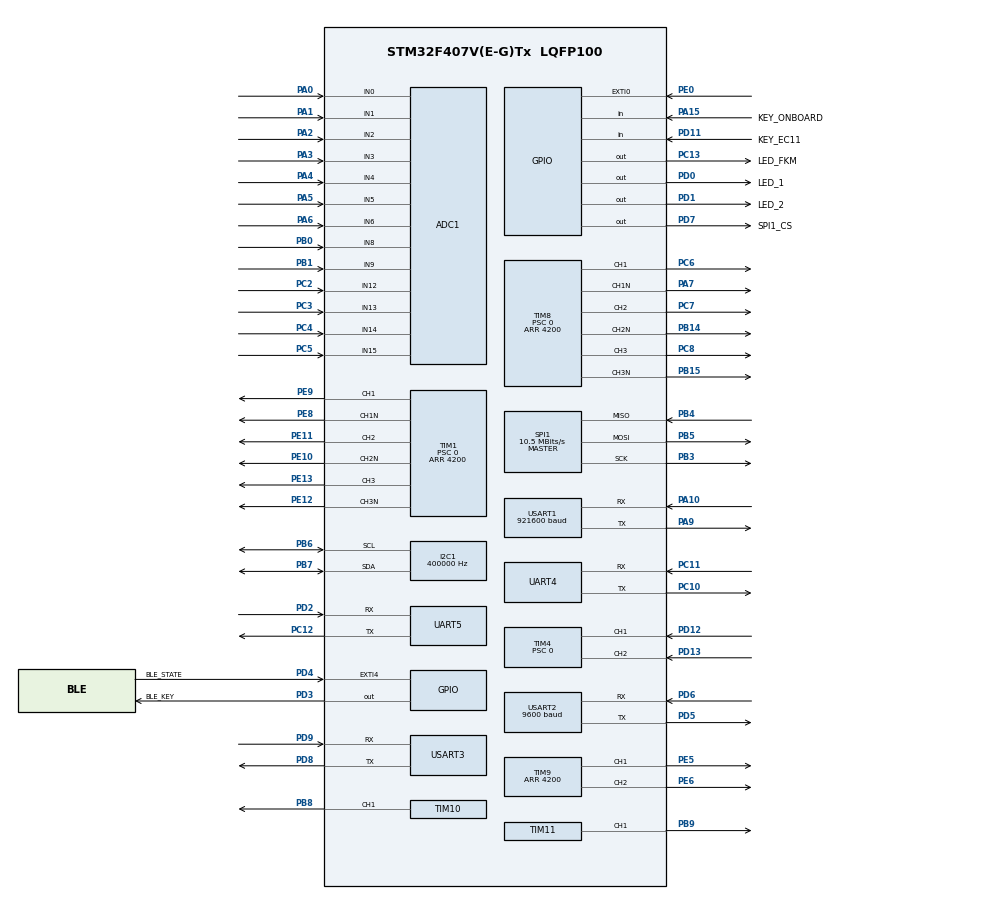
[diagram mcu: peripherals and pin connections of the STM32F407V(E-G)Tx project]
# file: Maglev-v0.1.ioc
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ADC1.Channel-1\#ChannelRegularConversion=ADC_CHANNEL_0
ADC1.Channel-10\#ChannelRegularConversion=ADC_CHANNEL_TEMPSENSOR
ADC1.Channel-11\#ChannelRegularConversion=ADC_CHANNEL_VREFINT
ADC1.Channel-12\#ChannelRegularConversion=ADC_CHANNEL_9
ADC1.Channel-13\#ChannelRegularConversion=ADC_CHANNEL_12
ADC1.Channel-14\#ChannelRegularConversion=ADC_CHANNEL_8
ADC1.Channel-15\#ChannelRegularConversion=ADC_CHANNEL_13
ADC1.Channel-2\#ChannelRegularConversion=ADC_CHANNEL_1
ADC1.Channel-3\#ChannelRegularConversion=ADC_CHANNEL_2
ADC1.Channel-4\#ChannelRegularConversion=ADC_CHANNEL_3
ADC1.Channel-5\#ChannelRegularConversion=ADC_CHANNEL_4
ADC1.Channel-6\#ChannelRegularConversion=ADC_CHANNEL_5
ADC1.Channel-7\#ChannelRegularConversion=ADC_CHANNEL_6
ADC1.Channel-8\#ChannelRegularConversion=ADC_CHANNEL_14
ADC1.Channel-9\#ChannelRegularConversion=ADC_CHANNEL_15
ADC1.ClockPrescaler=ADC_CLOCK_SYNC_PCLK_DIV6
ADC1.ContinuousConvMode=ENABLE
ADC1.DMAContinuousRequests=ENABLE
ADC1.EOCSelection=ADC_EOC_SEQ_CONV
ADC1.InjNumberOfConversion=0
ADC1.NbrOfConversion=15
ADC1.NbrOfConversionFlag=1
ADC1.Rank-1\#ChannelRegularConversion=1
ADC1.Rank-10\#ChannelRegularConversion=10
ADC1.Rank-11\#ChannelRegularConversion=11
ADC1.Rank-12\#ChannelRegularConversion=12
ADC1.Rank-13\#ChannelRegularConversion=13
ADC1.Rank-14\#ChannelRegularConversion=14
ADC1.Rank-15\#ChannelRegularConversion=15
ADC1.Rank-2\#ChannelRegularConversion=2
ADC1.Rank-3\#ChannelRegularConversion=3
ADC1.Rank-4\#ChannelRegularConversion=4
ADC1.Rank-5\#ChannelRegularConversion=5
ADC1.Rank-6\#ChannelRegularConversion=6
ADC1.Rank-7\#ChannelRegularConversion=7
ADC1.Rank-8\#ChannelRegularConversion=8
ADC1.Rank-9\#ChannelRegularConversion=9
ADC1.SamplingTime-1\#ChannelRegularConversion=ADC_SAMPLETIME_15CYCLES
ADC1.SamplingTime-10\#ChannelRegularConversion=ADC_SAMPLETIME_480CYCLES
ADC1.SamplingTime-11\#ChannelRegularConversion=ADC_SAMPLETIME_480CYCLES
ADC1.SamplingTime-12\#ChannelRegularConversion=ADC_SAMPLETIME_15CYCLES
ADC1.SamplingTime-13\#ChannelRegularConversion=ADC_SAMPLETIME_15CYCLES
ADC1.SamplingTime-14\#ChannelRegularConversion=ADC_SAMPLETIME_15CYCLES
ADC1.SamplingTime-15\#ChannelRegularConversion=ADC_SAMPLETIME_15CYCLES
ADC1.SamplingTime-2\#ChannelRegularConversion=ADC_SAMPLETIME_15CYCLES
ADC1.SamplingTime-3\#ChannelRegularConversion=ADC_SAMPLETIME_15CYCLES
ADC1.SamplingTime-4\#ChannelRegularConversion=ADC_SAMPLETIME_15CYCLES
ADC1.SamplingTime-5\#ChannelRegularConversion=ADC_SAMPLETIME_28CYCLES
ADC1.SamplingTime-6\#ChannelRegularConversion=ADC_SAMPLETIME_28CYCLES
ADC1.SamplingTime-7\#ChannelRegularConversion=ADC_SAMPLETIME_28CYCLES
ADC1.SamplingTime-8\#ChannelRegularConversion=ADC_SAMPLETIME_480CYCLES
ADC1.SamplingTime-9\#ChannelRegularConversion=ADC_SAMPLETIME_480CYCLES
ADC1.master=1
Dma.ADC1.0.Direction=DMA_PERIPH_TO_MEMORY
Dma.ADC1.0.FIFOMode=DMA_FIFOMODE_DISABLE
Dma.ADC1.0.Instance=DMA2_Stream0
Dma.ADC1.0.MemDataAlignment=DMA_MDATAALIGN_HALFWORD
Dma.ADC1.0.MemInc=DMA_MINC_ENABLE
Dma.ADC1.0.Mode=DMA_CIRCULAR
Dma.ADC1.0.PeriphDataAlignment=DMA_PDATAALIGN_HALFWORD
Dma.ADC1.0.PeriphInc=DMA_PINC_DISABLE
Dma.ADC1.0.Priority=DMA_PRIORITY_LOW
Dma.I2C1_TX.7.Direction=DMA_MEMORY_TO_PERIPH
Dma.I2C1_TX.7.FIFOMode=DMA_FIFOMODE_DISABLE
Dma.I2C1_TX.7.Instance=DMA1_Stream7
Dma.I2C1_TX.7.MemDataAlignment=DMA_MDATAALIGN_BYTE
Dma.I2C1_TX.7.MemInc=DMA_MINC_ENABLE
Dma.I2C1_TX.7.Mode=DMA_NORMAL
Dma.I2C1_TX.7.PeriphDataAlignment=DMA_PDATAALIGN_BYTE
Dma.I2C1_TX.7.PeriphInc=DMA_PINC_DISABLE
Dma.I2C1_TX.7.Priority=DMA_PRIORITY_LOW
Dma.Request0=ADC1
Dma.Request1=USART1_RX
Dma.Request2=USART1_TX
Dma.Request3=USART3_RX
Dma.Request4=USART3_TX
Dma.Request5=USART2_RX
Dma.Request6=USART2_TX
Dma.Request7=I2C1_TX
Dma.USART1_RX.1.Direction=DMA_PERIPH_TO_MEMORY
Dma.USART1_RX.1.FIFOMode=DMA_FIFOMODE_DISABLE
Dma.USART1_RX.1.Instance=DMA2_Stream2
Dma.USART1_RX.1.MemDataAlignment=DMA_MDATAALIGN_BYTE
Dma.USART1_RX.1.MemInc=DMA_MINC_ENABLE
Dma.USART1_RX.1.Mode=DMA_CIRCULAR
Dma.USART1_RX.1.PeriphDataAlignment=DMA_PDATAALIGN_BYTE
Dma.USART1_RX.1.PeriphInc=DMA_PINC_DISABLE
Dma.USART1_RX.1.Priority=DMA_PRIORITY_LOW
Dma.USART1_TX.2.Direction=DMA_MEMORY_TO_PERIPH
Dma.USART1_TX.2.FIFOMode=DMA_FIFOMODE_DISABLE
Dma.USART1_TX.2.Instance=DMA2_Stream7
Dma.USART1_TX.2.MemDataAlignment=DMA_MDATAALIGN_BYTE
Dma.USART1_TX.2.MemInc=DMA_MINC_ENABLE
Dma.USART1_TX.2.Mode=DMA_NORMAL
Dma.USART1_TX.2.PeriphDataAlignment=DMA_PDATAALIGN_BYTE
Dma.USART1_TX.2.PeriphInc=DMA_PINC_DISABLE
Dma.USART1_TX.2.Priority=DMA_PRIORITY_LOW
Dma.USART2_RX.5.Direction=DMA_PERIPH_TO_MEMORY
Dma.USART2_RX.5.FIFOMode=DMA_FIFOMODE_DISABLE
Dma.USART2_RX.5.Instance=DMA1_Stream5
Dma.USART2_RX.5.MemDataAlignment=DMA_MDATAALIGN_BYTE
Dma.USART2_RX.5.MemInc=DMA_MINC_ENABLE
Dma.USART2_RX.5.Mode=DMA_CIRCULAR
Dma.USART2_RX.5.PeriphDataAlignment=DMA_PDATAALIGN_BYTE
Dma.USART2_RX.5.PeriphInc=DMA_PINC_DISABLE
Dma.USART2_RX.5.Priority=DMA_PRIORITY_LOW
Dma.USART2_TX.6.Direction=DMA_MEMORY_TO_PERIPH
Dma.USART2_TX.6.FIFOMode=DMA_FIFOMODE_DISABLE
Dma.USART2_TX.6.Instance=DMA1_Stream6
Dma.USART2_TX.6.MemDataAlignment=DMA_MDATAALIGN_BYTE
Dma.USART2_TX.6.MemInc=DMA_MINC_ENABLE
Dma.USART2_TX.6.Mode=DMA_NORMAL
Dma.USART2_TX.6.PeriphDataAlignment=DMA_PDATAALIGN_BYTE
Dma.USART2_TX.6.PeriphInc=DMA_PINC_DISABLE
Dma.USART2_TX.6.Priority=DMA_PRIORITY_LOW
Dma.USART3_RX.3.Direction=DMA_PERIPH_TO_MEMORY
Dma.USART3_RX.3.FIFOMode=DMA_FIFOMODE_DISABLE
Dma.USART3_RX.3.Instance=DMA1_Stream1
Dma.USART3_RX.3.MemDataAlignment=DMA_MDATAALIGN_BYTE
Dma.USART3_RX.3.MemInc=DMA_MINC_ENABLE
Dma.USART3_RX.3.Mode=DMA_CIRCULAR
Dma.USART3_RX.3.PeriphDataAlignment=DMA_PDATAALIGN_BYTE
Dma.USART3_RX.3.PeriphInc=DMA_PINC_DISABLE
Dma.USART3_RX.3.Priority=DMA_PRIORITY_LOW
Dma.USART3_TX.4.Direction=DMA_MEMORY_TO_PERIPH
Dma.USART3_TX.4.FIFOMode=DMA_FIFOMODE_DISABLE
Dma.USART3_TX.4.Instance=DMA1_Stream3
Dma.USART3_TX.4.MemDataAlignment=DMA_MDATAALIGN_BYTE
Dma.USART3_TX.4.MemInc=DMA_MINC_ENABLE
Dma.USART3_TX.4.Mode=DMA_NORMAL
Dma.USART3_TX.4.PeriphDataAlignment=DMA_PDATAALIGN_BYTE
Dma.USART3_TX.4.PeriphInc=DMA_PINC_DISABLE
Dma.USART3_TX.4.Priority=DMA_PRIORITY_LOW
I2C1.ClockSpeed=400000
I2C1.I2C_Mode=I2C_Fast
Mcu.Family=STM32F4
Mcu.Name=STM32F407V(E-G)Tx
Mcu.Package=LQFP100
NVIC.DMA1_Stream7_IRQn=true\:0\:0\:true\:false\:true\:true\:true\:true
NVIC.EXTI4_IRQn=true\:1\:0\:true\:false\:true\:true\:true\:true
NVIC.PriorityGroup=NVIC_PRIORITYGROUP_4
NVIC.TIM3_IRQn=true\:0\:0\:true\:false\:true\:true\:true\:true
NVIC.TIM4_IRQn=true\:1\:0\:true\:false\:true\:true\:true\:true
NVIC.USART1_IRQn=true\:0\:0\:true\:false\:true\:true\:true\:true
NVIC.USART2_IRQn=true\:1\:0\:true\:false\:true\:true\:true\:true
NVIC.USART3_IRQn=true\:0\:0\:false\:false\:true\:true\:true\:true
PA0-WKUP.Signal=ADCx_IN0
PA1.Signal=ADCx_IN1
PA10.Mode=Asynchronous
PA10.Signal=USART1_RX
PA13.Mode=Serial_Wire
PA13.Signal=SYS_JTMS-SWDIO
PA14.Mode=Serial_Wire
PA14.Signal=SYS_JTCK-SWCLK
PA15.GPIO_Label=KEY_ONBOARD
PA15.GPIO_PuPd=GPIO_NOPULL
PA15.Signal=GPIO_Input
PA2.Signal=ADCx_IN2
PA3.Signal=ADCx_IN3
PA4.Signal=ADCx_IN4
PA5.Signal=ADCx_IN5
PA6.Signal=ADCx_IN6
PA7.Mode=PWM Generation1 CH1 CH1N
PA7.Signal=TIM8_CH1N
PA9.Mode=Asynchronous
PA9.Signal=USART1_TX
PB0.Signal=ADCx_IN8
PB1.Signal=ADCx_IN9
PB14.GPIO_PuPd=GPIO_NOPULL
PB14.GPIO_Speed=GPIO_SPEED_FREQ_VERY_HIGH
PB14.Mode=PWM Generation2 CH2 CH2N
PB14.Signal=TIM8_CH2N
PB15.GPIO_PuPd=GPIO_NOPULL
PB15.GPIO_Speed=GPIO_SPEED_FREQ_VERY_HIGH
PB15.Mode=PWM Generation3 CH3 CH3N
PB15.Signal=TIM8_CH3N
PB3.GPIO_PuPd=GPIO_PULLUP
PB3.Mode=Full_Duplex_Master
PB3.Signal=SPI1_SCK
PB4.Mode=Full_Duplex_Master
PB4.Signal=SPI1_MISO
PB5.GPIO_PuPd=GPIO_PULLUP
PB5.Mode=Full_Duplex_Master
PB5.Signal=SPI1_MOSI
PB6.GPIO_Pu=GPIO_NOPULL
PB6.Mode=I2C
PB6.Signal=I2C1_SCL
PB7.GPIO_Pu=GPIO_NOPULL
PB7.Mode=I2C
PB7.Signal=I2C1_SDA
PB8.GPIO_Speed=GPIO_SPEED_FREQ_VERY_HIGH
PB8.Signal=S_TIM10_CH1
PB9.GPIO_Speed=GPIO_SPEED_FREQ_VERY_HIGH
PB9.Signal=S_TIM11_CH1
PC10.Mode=Asynchronous
PC10.Signal=UART4_TX
PC11.Mode=Asynchronous
PC11.Signal=UART4_RX
PC12.Mode=Asynchronous
PC12.Signal=UART5_TX
PC13-ANTI_TAMP.GPIO_Label=LED_FKM
PC13-ANTI_TAMP.PinState=GPIO_PIN_SET
PC13-ANTI_TAMP.Signal=GPIO_Output
PC2.Signal=ADCx_IN12
PC3.Signal=ADCx_IN13
PC4.Signal=ADCx_IN14
PC5.Signal=ADCx_IN15
PC6.Signal=S_TIM8_CH1
PC7.Signal=S_TIM8_CH2
PC8.Signal=S_TIM8_CH3
PD0.GPIO_Label=LED_1
PD0.GPIO_Speed=GPIO_SPEED_FREQ_VERY_HIGH
PD0.Signal=GPIO_Output
PD1.GPIO_Label=LED_2
PD1.GPIO_Speed=GPIO_SPEED_FREQ_VERY_HIGH
PD1.Signal=GPIO_Output
PD11.GPIO_Label=KEY_EC11
PD11.GPIO_PuPd=GPIO_PULLUP
PD11.Signal=GPIO_Input
PD12.GPIO_PuPd=GPIO_PULLUP
PD12.GPIO_Speed=GPIO_SPEED_FREQ_VERY_HIGH
PD12.Signal=S_TIM4_CH1
PD13.GPIO_PuPd=GPIO_PULLUP
PD13.GPIO_Speed=GPIO_SPEED_FREQ_VERY_HIGH
PD13.Signal=S_TIM4_CH2
PD2.Mode=Asynchronous
PD2.Signal=UART5_RX
PD3.GPIO_Label=BLE_KEY
PD3.GPIO_Speed=GPIO_SPEED_FREQ_VERY_HIGH
PD3.Signal=GPIO_Output
PD4.GPIO_Label=BLE_STATE
PD4.GPIO_ModeDefaultEXTI=GPIO_MODE_IT_RISING_FALLING
PD4.GPIO_PuPd=GPIO_PULLUP
PD4.Signal=GPXTI4
PD5.Mode=Asynchronous
PD5.Signal=USART2_TX
PD6.Mode=Asynchronous
PD6.Signal=USART2_RX
PD7.GPIO_Label=SPI1_CS
PD7.GPIO_PuPd=GPIO_PULLUP
PD7.GPIO_Speed=GPIO_SPEED_FREQ_VERY_HIGH
PD7.PinState=GPIO_PIN_SET
PD7.Signal=GPIO_Output
PD8.Mode=Asynchronous
PD8.Signal=USART3_TX
PD9.Mode=Asynchronous
PD9.Signal=USART3_RX
PE0.Signal=GPXTI0
PE10.Mode=PWM Generation2 CH2 CH2N
PE10.Signal=TIM1_CH2N
PE11.Signal=S_TIM1_CH2
PE12.Mode=PWM Generation3 CH3 CH3N
PE12.Signal=TIM1_CH3N
PE13.Signal=S_TIM1_CH3
PE5.Signal=S_TIM9_CH1
PE6.Signal=S_TIM9_CH2
PE8.Mode=PWM Generation1 CH1 CH1N
PE8.Signal=TIM1_CH1N
PE9.Signal=S_TIM1_CH1
PH0-OSC_IN.Mode=HSE-External-Oscillator
PH0-OSC_IN.Signal=RCC_OSC_IN
PH1-OSC_OUT.Mode=HSE-External-Oscillator
PH1-OSC_OUT.Signal=RCC_OSC_OUT
ProjectManager.HeapSize=0x200
ProjectManager.StackSize=0x400
ProjectManager.TargetToolchain=Makefile
RCC.48MHZClocksFreq_Value=84000000
RCC.AHBFreq_Value=168000000
RCC.APB1CLKDivider=RCC_HCLK_DIV4
RCC.APB1Freq_Value=42000000
RCC.APB1TimFreq_Value=84000000
RCC.APB2CLKDivider=RCC_HCLK_DIV2
RCC.APB2Freq_Value=84000000
RCC.APB2TimFreq_Value=168000000
RCC.CortexFreq_Value=168000000
RCC.DATA_CACHE_ENABLE=1
RCC.HCLKFreq_Value=168000000
RCC.HSE_VALUE=8000000
RCC.HSI_VALUE=16000000
RCC.LSE_VALUE=32768
RCC.PLLM=4
RCC.PLLN=168
RCC.PLLSourceVirtual=RCC_PLLSOURCE_HSE
RCC.SYSCLKFreq_VALUE=168000000
RCC.SYSCLKSource=RCC_SYSCLKSOURCE_PLLCLK
RCC.VCOOutputFreq_Value=336000000
SH.ADCx_IN0.0=ADC1_IN0,IN0
SH.ADCx_IN1.0=ADC1_IN1,IN1
SH.ADCx_IN12.0=ADC1_IN12,IN12
SH.ADCx_IN13.0=ADC1_IN13,IN13
SH.ADCx_IN14.0=ADC1_IN14,IN14
SH.ADCx_IN15.0=ADC1_IN15,IN15
SH.ADCx_IN2.0=ADC1_IN2,IN2
SH.ADCx_IN3.0=ADC1_IN3,IN3
SH.ADCx_IN4.0=ADC1_IN4,IN4
SH.ADCx_IN5.0=ADC1_IN5,IN5
SH.ADCx_IN6.0=ADC1_IN6,IN6
SH.ADCx_IN8.0=ADC1_IN8,IN8
SH.ADCx_IN9.0=ADC1_IN9,IN9
SH.S_TIM10_CH1.0=TIM10_CH1,PWM Generation1 CH1
SH.S_TIM11_CH1.0=TIM11_CH1,PWM Generation1 CH1
SH.S_TIM1_CH1.0=TIM1_CH1,PWM Generation1 CH1 CH1N
SH.S_TIM1_CH2.0=TIM1_CH2,PWM Generation2 CH2 CH2N
SH.S_TIM1_CH3.0=TIM1_CH3,PWM Generation3 CH3 CH3N
SH.S_TIM4_CH1.0=TIM4_CH1,Encoder_Interface
SH.S_TIM4_CH2.0=TIM4_CH2,Encoder_Interface
SH.S_TIM8_CH1.0=TIM8_CH1,PWM Generation1 CH1 CH1N
SH.S_TIM8_CH2.0=TIM8_CH2,PWM Generation2 CH2 CH2N
SH.S_TIM8_CH3.0=TIM8_CH3,PWM Generation3 CH3 CH3N
SH.S_TIM9_CH1.0=TIM9_CH1,PWM Generation1 CH1
SH.S_TIM9_CH2.0=TIM9_CH2,PWM Generation2 CH2
SPI1.BaudRatePrescaler=SPI_BAUDRATEPRESCALER_8
SPI1.CLKPhase=SPI_PHASE_2EDGE
SPI1.CLKPolarity=SPI_POLARITY_HIGH
SPI1.CalculateBaudRate=10.5 MBits/s
SPI1.DataSize=SPI_DATASIZE_8BIT
SPI1.Direction=SPI_DIRECTION_2LINES
SPI1.Mode=SPI_MODE_MASTER
SPI1.VirtualType=VM_MASTER
TIM1.AutoReloadPreload=TIM_AUTORELOAD_PRELOAD_ENABLE
TIM1.Channel-PWM\ Generation1\ CH1\ CH1N=TIM_CHANNEL_1
TIM1.Channel-PWM\ Generation2\ CH2\ CH2N=TIM_CHANNEL_2
TIM1.Channel-PWM\ Generation3\ CH3\ CH3N=TIM_CHANNEL_3
TIM1.OC1Preload_PWM=ENABLE
TIM1.OC2Preload_PWM=ENABLE
TIM1.OC3Preload_PWM=ENABLE
TIM1.OCIdleState_2=TIM_OCIDLESTATE_RESET
TIM1.OCNIdleState_2=TIM_OCNIDLESTATE_RESET
TIM1.OCNPolarity_1=TIM_OCNPOLARITY_LOW
TIM1.OCNPolarity_2=TIM_OCNPOLARITY_LOW
TIM1.OCNPolarity_3=TIM_OCNPOLARITY_LOW
TIM1.OCPolarity_2=TIM_OCPOLARITY_HIGH
TIM1.Period=4200
TIM1.Prescaler=0
TIM10.AutoReloadPreload=TIM_AUTORELOAD_PRELOAD_ENABLE
TIM10.Channel=TIM_CHANNEL_1
TIM10.Period=4200
TIM11.AutoReloadPreload=TIM_AUTORELOAD_PRELOAD_ENABLE
TIM11.Channel=TIM_CHANNEL_1
TIM11.Period=4200
TIM3.AutoReloadPreload=TIM_AUTORELOAD_PRELOAD_DISABLE
TIM3.Period=50
TIM3.Prescaler=83
TIM4.ClockDivision=TIM_CLOCKDIVISION_DIV2
TIM4.CounterMode=TIM_COUNTERMODE_UP
TIM4.EncoderMode=TIM_ENCODERMODE_TI12
TIM4.IC1Filter=15
TIM4.IC1Polarity=TIM_ICPOLARITY_RISING
TIM4.IC2Filter=15
TIM4.IC2Polarity=TIM_ICPOLARITY_RISING
TIM4.Prescaler=0
TIM8.AutoReloadPreload=TIM_AUTORELOAD_PRELOAD_ENABLE
TIM8.Channel-PWM\ Generation1\ CH1\ CH1N=TIM_CHANNEL_1
TIM8.Channel-PWM\ Generation2\ CH2\ CH2N=TIM_CHANNEL_2
TIM8.Channel-PWM\ Generation3\ CH3\ CH3N=TIM_CHANNEL_3
TIM8.ClockDivision=TIM_CLOCKDIVISION_DIV1
TIM8.CounterMode=TIM_COUNTERMODE_UP
TIM8.OC1Preload_PWM=ENABLE
TIM8.OC2Preload_PWM=ENABLE
TIM8.OC3Preload_PWM=ENABLE
TIM8.OCNPolarity_1=TIM_OCNPOLARITY_LOW
TIM8.OCNPolarity_2=TIM_OCNPOLARITY_LOW
TIM8.OCNPolarity_3=TIM_OCNPOLARITY_LOW
TIM8.OCPolarity_3=TIM_OCPOLARITY_HIGH
TIM8.Period=4200
TIM8.Prescaler=0
TIM9.AutoReloadPreload=TIM_AUTORELOAD_PRELOAD_ENABLE
TIM9.Channel-PWM\ Generation1\ CH1=TIM_CHANNEL_1
TIM9.Channel-PWM\ Generation2\ CH2=TIM_CHANNEL_2
TIM9.OC1Preload_PWM=ENABLE
TIM9.OC2Preload_PWM=ENABLE
TIM9.Period=4200
UART4.VirtualMode=Asynchronous
UART5.VirtualMode=Asynchronous
USART1.BaudRate=921600
USART1.VirtualMode=VM_ASYNC
USART2.BaudRate=9600
USART2.VirtualMode=VM_ASYNC
USART3.VirtualMode=VM_ASYNC
VP_ADC1_TempSens_Input.Mode=IN-TempSens
VP_ADC1_Vref_Input.Mode=IN-Vrefint
VP_TIM10_VS_ClockSourceINT.Mode=Enable_Timer
VP_TIM11_VS_ClockSourceINT.Mode=Enable_Timer
VP_TIM1_VS_ClockSourceINT.Mode=Internal
VP_TIM3_VS_ClockSourceINT.Mode=Internal
VP_TIM8_VS_ClockSourceINT.Mode=Internal
VP_TIM9_VS_ClockSourceINT.Mode=Internal
board=custom

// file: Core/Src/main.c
/* USER CODE BEGIN Header */
/**
  ******************************************************************************
  * @file           : main.c
  * @brief          : Main program body
  ******************************************************************************
  * @attention
  *
  * Copyright (c) 2023 STMicroelectronics.
  * All rights reserved.
  *
  * This software is licensed under terms that can be found in the LICENSE file
  * in the root directory of this software component.
  * If no LICENSE file comes with this software, it is provided AS-IS.
  *
  ******************************************************************************
  */
/* USER CODE END Header */
#include "main.h"
#include "adc.h"
#include "dma.h"
#include "i2c.h"
#include "spi.h"
#include "tim.h"
#include "usart.h"
#include "gpio.h"

/* USER CODE BEGIN Includes */
#include "ui.h"
/* USER CODE END Includes */

/* USER CODE BEGIN PV */
uint8_t timer_1ms = 0;
uint8_t timer_10ms = 0;
uint8_t timer_50ms = 0;
uint16_t timer_500ms = 0;
int16_t temp = 0;

uint16_t rxLen = 0;
char buffer[128] = {0};
char command_buffer[MAX_COMMAND_WORD_LENGTH] = {0};
float arg_buffer[MAX_FLOAT_ARG_COUNT] = {0.0f};
uint8_t arg_buffer_len = 0;
/* USER CODE END PV */

void SystemClock_Config(void);
/* USER CODE BEGIN PFP */
void EC11_Callback(void);
void Key_Onboard_Callback(void);
void Key_EC11_Callback(void);
void UART_CommandHandler(UART_InstanceTypeDef *uart_handler);
/* USER CODE END PFP */

/* USER CODE BEGIN 0 */
#if (__FPU_USED == 0) || (__FPU_PRESENT == 0)
  #warning "FPU is not used"
#endif
/* USER CODE END 0 */

int main(void)
{

  /* MCU Configuration--------------------------------------------------------*/

  /* Reset of all peripherals, Initializes the Flash interface and the Systick. */
  LL_APB2_GRP1_EnableClock(LL_APB2_GRP1_PERIPH_SYSCFG);
  LL_APB1_GRP1_EnableClock(LL_APB1_GRP1_PERIPH_PWR);

  /* System interrupt init*/
  NVIC_SetPriorityGrouping(NVIC_PRIORITYGROUP_4);

  /* SysTick_IRQn interrupt configuration */
  NVIC_SetPriority(SysTick_IRQn, NVIC_EncodePriority(NVIC_GetPriorityGrouping(),15, 0));

  /* Configure the system clock */
  SystemClock_Config();

  /* Initialize all configured peripherals */
  MX_GPIO_Init();
  MX_DMA_Init();
  MX_ADC1_Init();
  MX_TIM1_Init();
  MX_TIM8_Init();
  MX_USART1_UART_Init();
  MX_USART2_UART_Init();
  MX_I2C1_Init();
  MX_UART4_Init();
  MX_UART5_Init();
  MX_USART3_UART_Init();
  MX_SPI1_Init();
  MX_TIM4_Init();
  MX_TIM3_Init();
  MX_TIM9_Init();
  MX_TIM10_Init();
  MX_TIM11_Init();
  /* USER CODE BEGIN 2 */
  DWT_Delay_Init();
  // LL Driver turns off SysTick_Handler() interrupt without SysTick_CTRL_TICKINT_Msk set.
  SysTick->CTRL = SysTick_CTRL_CLKSOURCE_Msk |
                  SysTick_CTRL_TICKINT_Msk |
                  SysTick_CTRL_ENABLE_Msk;
  delay_ms(300);
  ADC_HandlerInit();
  UART_InstanceInit(&UART1_Handler, USART1, DMA2, LL_DMA_STREAM_2, DMA2, LL_DMA_STREAM_7, 256);
  TOF_Sensor_Init();
  Encoder_Init(&EC11_Encoder, TIM4, LL_TIM_CHANNEL_CH1);
  Encoder_RegisterCallback(&EC11_Encoder, EC11_Callback);
  Key_InstanceInit(&Key_Onboard, KEY_ONBOARD_GPIO_Port, KEY_ONBOARD_Pin, 0);
  Key_InstanceInit(&Key_EC11, KEY_EC11_GPIO_Port, KEY_EC11_Pin, 0);
  Key_RegisterCallback(&Key_Onboard, Key_Onboard_Callback);
  Key_RegisterCallback(&Key_EC11, Key_EC11_Callback);
  OLED_Init();
  BLE_Init();
  ICM20602_Init();
  control_init();
  if(ble_state) UART_printf(&UART_BLE_Handler, 1, "Maglev System initialized.\n");
  // UART_printf(&UART1_Handler, 1, "Hello World!");
  // uint16_t tempLen = 0;
  // uint8_t buf[128] = {0};
  /* USER CODE END 2 */
  uint8_t last_floater_state = 0;
  uint8_t last_floater_steady = 0;
  /* Infinite loop */
  /* USER CODE BEGIN WHILE */
  while(1)
  {
    // BLE stuffs
    if(ble_state)
    {
      if(floater_state != last_floater_state)
      {
        if(floater_state) UART_printf(&UART_BLE_Handler, 1, "Floater has been put.\n");
        else UART_printf(&UART_BLE_Handler, 1, "Floater has been removed.\n");
        last_floater_state = floater_state;
      }
      if(floater_steady != last_floater_steady)
      {
        if(floater_steady) UART_printf(&UART_BLE_Handler, 1, "Floater steady.\n");
        else UART_printf(&UART_BLE_Handler, 1, "Floater unsteady.\n");
        last_floater_steady = floater_steady;
      }
      if(UART_BLE_Handler.rx_finished_flag)
      {
        UART_CommandHandler(&UART_BLE_Handler);
        UART_BLE_Handler.rx_finished_flag = 0;
      }
    }

    if(UART1_Handler.rx_finished_flag)
    {
      UART_CommandHandler(&UART1_Handler);
      UART1_Handler.rx_finished_flag = 0;
    }
    if(timer_1ms)
    {
      ICM20602_UpdateData(); // 1 KHz
      ICM20602_UpdateAHRS();
      if(timer_500ms > 0 && !(timer_500ms % 249)) // 250ms
      {
        if(current_fuse) LL_GPIO_TogglePin(LED_2_GPIO_Port, LED_2_Pin);
        timer_500ms += 1;
      }
      else if(timer_500ms >= 499)
      {
        if(floater_fail_safe) LL_GPIO_TogglePin(LED_2_GPIO_Port, LED_2_Pin);
        timer_500ms = 0;
      }
      else timer_500ms++;
      if(timer_50ms >= 49)
      {
        control_calculate_power();
        // OLED_printf(0, 0, SMALL_FONT, "H: %d    ", (uint16_t)floater_height);
        // OLED_printf(0, 14, SMALL_FONT, "temp: %d C", (int8_t)ADC_GetCoreTemp());
        // OLED_printf(0, 28, SMALL_FONT, "r: %d, p: %d ", (int16_t)imu_roll, (int16_t)imu_pitch);
        // OLED_printf(0, 42, SMALL_FONT, "%dEC: %d  ", EC11_Encoder.direction, EC11_Encoder.value);
        // OLED_RefreshGram();
        UI_Show();
        timer_50ms = 0;
      }
      else timer_50ms++;
      if(timer_10ms >= 9)
      {
        if(control_state && !low_power_mode)
        {
          LL_GPIO_SetOutputPin(LED_2_GPIO_Port, LED_2_Pin);
          if(floater_state) LL_GPIO_SetOutputPin(LED_1_GPIO_Port, LED_1_Pin);
          else LL_GPIO_ResetOutputPin(LED_1_GPIO_Port, LED_1_Pin);
        }
        else
        {
          if(!(floater_fail_safe || current_fuse)) LL_GPIO_ResetOutputPin(LED_2_GPIO_Port, LED_2_Pin); // not triggered by fail safe or current fuse
          LL_GPIO_ResetOutputPin(LED_1_GPIO_Port, LED_1_Pin);
        }
        vofa_add_float(0, floater_height);
        vofa_add_float(1, Hall_X_Offset);
        vofa_add_float(2, Hall_Y_Offset);
        vofa_add_float(3, ADC_GetRaw(CHANNEL_HALL_Z));
        vofa_add_float(4, Coil_X_Pos._adc_current);
        vofa_add_float(5, Coil_X_Neg._adc_current);
        vofa_add_float(6, Coil_Y_Pos._adc_current);
        vofa_add_float(7, Coil_Y_Neg._adc_current);
        vofa_add_float(8, Coil_LT._adc_current);
        vofa_add_float(9, Coil_LB._adc_current);
        vofa_add_float(10, Coil_RT._adc_current);
        vofa_add_float(11, Coil_RB._adc_current);
        vofa_add_float(12, (float)Coil_X_Pos.value);
        vofa_add_float(13, (float)Coil_X_Neg.value);
        vofa_add_float(14, (float)Coil_Y_Pos.value);
        vofa_add_float(15, (float)Coil_Y_Neg.value);
        vofa_add_float(16, (float)Coil_LT.value);
        vofa_add_float(17, (float)Coil_LB.value);
        vofa_add_float(18, (float)Coil_RT.value);
        vofa_add_float(19, (float)Coil_RB.value);
        vofa_add_float(20, Coil_X_Pos.set_current);
        vofa_add_float(21, Coil_X_Neg.set_current);
        vofa_add_float(22, Coil_Y_Pos.set_current);
        vofa_add_float(23, Coil_Y_Neg.set_current);
        vofa_add_float(24, Coil_LT.set_current);
        vofa_add_float(25, Coil_LB.set_current);
        vofa_add_float(26, Coil_RT.set_current);
        vofa_add_float(27, Coil_RB.set_current);
        vofa_add_float(28, imu_roll);
        vofa_add_float(29, imu_pitch);
        vofa_add_float(30, negative_gravity);
        // vofa_add_float(28, X_Axis_PID.P);
        // vofa_add_float(29, X_Axis_PID.I);
        // vofa_add_float(30, X_Axis_PID.D);
        // vofa_add_float(31, Y_Axis_PID.P);
        // vofa_add_float(32, Y_Axis_PID.I);
        // vofa_add_float(33, Y_Axis_PID.D);
        vofa_add_float(31, Z_Axis_Outer_PID.P);
        vofa_add_float(32, Z_Axis_Outer_PID.I);
        vofa_add_float(33, Z_Axis_Outer_PID.D);
        vofa_add_float(34, z_target);
        vofa_add_float(35, X_Modifier);
        vofa_add_float(36, Y_Modifier);
        vofa_send_data();
        Key_InstanceUpdate(&Key_Onboard);
        Key_InstanceUpdate(&Key_EC11);
        timer_10ms = 0;
      }
      else timer_10ms++;
      timer_1ms = 0;
    }
    /* USER CODE END WHILE */

  }
}

void SystemClock_Config(void)
{
  LL_FLASH_SetLatency(LL_FLASH_LATENCY_5);
  while(LL_FLASH_GetLatency()!= LL_FLASH_LATENCY_5)
  {
  }
  LL_PWR_SetRegulVoltageScaling(LL_PWR_REGU_VOLTAGE_SCALE1);
  LL_RCC_HSE_Enable();

   /* Wait till HSE is ready */
  while(LL_RCC_HSE_IsReady() != 1)
  {

  }
  LL_RCC_PLL_ConfigDomain_SYS(LL_RCC_PLLSOURCE_HSE, LL_RCC_PLLM_DIV_4, 168, LL_RCC_PLLP_DIV_2);
  LL_RCC_PLL_Enable();

   /* Wait till PLL is ready */
  while(LL_RCC_PLL_IsReady() != 1)
  {

  }
  while (LL_PWR_IsActiveFlag_VOS() == 0)
  {
  }
  LL_RCC_SetAHBPrescaler(LL_RCC_SYSCLK_DIV_1);
  LL_RCC_SetAPB1Prescaler(LL_RCC_APB1_DIV_4);
  LL_RCC_SetAPB2Prescaler(LL_RCC_APB2_DIV_2);
  LL_RCC_SetSysClkSource(LL_RCC_SYS_CLKSOURCE_PLL);

   /* Wait till System clock is ready */
  while(LL_RCC_GetSysClkSource() != LL_RCC_SYS_CLKSOURCE_STATUS_PLL)
  {

  }
  LL_Init1msTick(168000000);
  LL_SetSystemCoreClock(168000000);
}

/* USER CODE BEGIN 4 */
void UART_CommandHandler(UART_InstanceTypeDef *uart_handler)
{
  rxLen = UART_GetRxLen(uart_handler);
  if(rxLen > 0)
  {
    UART_GetRxFifo(uart_handler, buffer, rxLen);
    if(buffer[rxLen-1] == '\r' || buffer[rxLen-1] == ';' || buffer[rxLen-1] == '\n')
    {
      getCommand(buffer, rxLen, command_buffer);
      splitData_f(buffer, rxLen, arg_buffer, &arg_buffer_len, ' ');
      if(arg_buffer_len == 0)
      {
        if(strcmp(command_buffer, "control_state") == 0)
        {
          control_state = !control_state;
          if(control_state) LL_GPIO_SetOutputPin(LED_2_GPIO_Port, LED_2_Pin);
          else LL_GPIO_ResetOutputPin(LED_2_GPIO_Port, LED_2_Pin);
        }
      }
      else if(arg_buffer_len == 1)
      {
        if(strcmp(command_buffer, "x_pos_compare") == 0)      Coil_SetOutput(&Coil_X_Pos, (int16_t)arg_buffer[0]);
        else if(strcmp(command_buffer, "x_neg_compare") == 0) Coil_SetOutput(&Coil_X_Neg, (int16_t)arg_buffer[0]);
        else if(strcmp(command_buffer, "y_pos_compare") == 0) Coil_SetOutput(&Coil_Y_Pos, (int16_t)arg_buffer[0]);
        else if(strcmp(command_buffer, "y_neg_compare") == 0) Coil_SetOutput(&Coil_Y_Neg, (int16_t)arg_buffer[0]);
        else if(strcmp(command_buffer, "lt_compare") == 0)    Coil_SetOutput(&Coil_LT, (int16_t)arg_buffer[0]);
        else if(strcmp(command_buffer, "lb_compare") == 0)    Coil_SetOutput(&Coil_LB, (int16_t)arg_buffer[0]);
        else if(strcmp(command_buffer, "rt_compare") == 0)    Coil_SetOutput(&Coil_RT, (int16_t)arg_buffer[0]);
        else if(strcmp(command_buffer, "rb_compare") == 0)    Coil_SetOutput(&Coil_RB, (int16_t)arg_buffer[0]);
        else if(strcmp(command_buffer, "x_pos_current") == 0) Coil_X_Pos.set_current = arg_buffer[0];
        else if(strcmp(command_buffer, "x_pos_p") == 0)       Coil_X_Pos.current_pid.P = arg_buffer[0];
        else if(strcmp(command_buffer, "x_pos_i") == 0)       Coil_X_Pos.current_pid.I = arg_buffer[0];
        else if(strcmp(command_buffer, "x_pos_d") == 0)       Coil_X_Pos.current_pid.D = arg_buffer[0];
        else if(strcmp(command_buffer, "x_neg_current") == 0) Coil_X_Neg.set_current = arg_buffer[0];
        else if(strcmp(command_buffer, "x_neg_p") == 0)       Coil_X_Neg.current_pid.P = arg_buffer[0];
        else if(strcmp(command_buffer, "x_neg_i") == 0)       Coil_X_Neg.current_pid.I = arg_buffer[0];
        else if(strcmp(command_buffer, "x_neg_d") == 0)       Coil_X_Neg.current_pid.D = arg_buffer[0];
        else if(strcmp(command_buffer, "y_pos_current") == 0) Coil_Y_Pos.set_current = arg_buffer[0];
        else if(strcmp(command_buffer, "y_pos_p") == 0)       Coil_Y_Pos.current_pid.P = arg_buffer[0];
        else if(strcmp(command_buffer, "y_pos_i") == 0)       Coil_Y_Pos.current_pid.I = arg_buffer[0];
        else if(strcmp(command_buffer, "y_pos_d") == 0)       Coil_Y_Pos.current_pid.D = arg_buffer[0];
        else if(strcmp(command_buffer, "y_neg_current") == 0) Coil_Y_Neg.set_current = arg_buffer[0];
        else if(strcmp(command_buffer, "y_neg_p") == 0)       Coil_Y_Neg.current_pid.P = arg_buffer[0];
        else if(strcmp(command_buffer, "y_neg_i") == 0)       Coil_Y_Neg.current_pid.I = arg_buffer[0];
        else if(strcmp(command_buffer, "y_neg_d") == 0)       Coil_Y_Neg.current_pid.D = arg_buffer[0];
        else if(strcmp(command_buffer, "x_axis_p") == 0)      X_Axis_PID.P = arg_buffer[0];
        else if(strcmp(command_buffer, "x_axis_i") == 0)      X_Axis_PID.I = arg_buffer[0];
        else if(strcmp(command_buffer, "x_axis_d") == 0)      X_Axis_PID.D = arg_buffer[0];
        else if(strcmp(command_buffer, "y_axis_p") == 0)      Y_Axis_PID.P = arg_buffer[0];
        else if(strcmp(command_buffer, "y_axis_i") == 0)      Y_Axis_PID.I = arg_buffer[0];
        else if(strcmp(command_buffer, "y_axis_d") == 0)      Y_Axis_PID.D = arg_buffer[0];
        else if(strcmp(command_buffer, "z_axis_p") == 0)      Z_Axis_PID.P = arg_buffer[0];
        else if(strcmp(command_buffer, "z_axis_i") == 0)      Z_Axis_PID.I = arg_buffer[0];
        else if(strcmp(command_buffer, "z_axis_d") == 0)      Z_Axis_PID.D = arg_buffer[0];
        else if(strcmp(command_buffer, "z_target") == 0)      z_target = arg_buffer[0];
        else if(strcmp(command_buffer, "x_modifier") == 0)    X_Modifier = arg_buffer[0];
        else if(strcmp(command_buffer, "y_modifier") == 0)    Y_Modifier = arg_buffer[0];
        else if(strcmp(command_buffer, "lt_current") == 0)    Coil_LT.set_current = arg_buffer[0];
        else if(strcmp(command_buffer, "lt_p") == 0)          Coil_LT.current_pid.P = arg_buffer[0];
        else if(strcmp(command_buffer, "lt_i") == 0)          Coil_LT.current_pid.I = arg_buffer[0];
        else if(strcmp(command_buffer, "lt_d") == 0)          Coil_LT.current_pid.D = arg_buffer[0];
        else if(strcmp(command_buffer, "lb_current") == 0)    Coil_LB.set_current = arg_buffer[0];
        else if(strcmp(command_buffer, "lb_p") == 0)          Coil_LB.current_pid.P = arg_buffer[0];
        else if(strcmp(command_buffer, "lb_i") == 0)          Coil_LB.current_pid.I = arg_buffer[0];
        else if(strcmp(command_buffer, "lb_d") == 0)          Coil_LB.current_pid.D = arg_buffer[0];
        else if(strcmp(command_buffer, "rt_current") == 0)    Coil_RT.set_current = arg_buffer[0];
        else if(strcmp(command_buffer, "rt_p") == 0)          Coil_RT.current_pid.P = arg_buffer[0];
        else if(strcmp(command_buffer, "rt_i") == 0)          Coil_RT.current_pid.I = arg_buffer[0];
        else if(strcmp(command_buffer, "rt_d") == 0)          Coil_RT.current_pid.D = arg_buffer[0];
        else if(strcmp(command_buffer, "rb_current") == 0)    Coil_RB.set_current = arg_buffer[0];
        else if(strcmp(command_buffer, "rb_p") == 0)          Coil_RB.current_pid.P = arg_buffer[0];
        else if(strcmp(command_buffer, "rb_i") == 0)          Coil_RB.current_pid.I = arg_buffer[0];
        else if(strcmp(command_buffer, "rb_d") == 0)          Coil_RB.current_pid.D = arg_buffer[0];
        else if(strcmp(command_buffer, "outer_current") == 0) outer_ring_set_current = arg_buffer[0];
        else if(strcmp(command_buffer, "outer_x_p") == 0)     X_Axis_Outer_PID.P = arg_buffer[0];
        else if(strcmp(command_buffer, "outer_x_i") == 0)     X_Axis_Outer_PID.I = arg_buffer[0];
        else if(strcmp(command_buffer, "outer_x_d") == 0)     X_Axis_Outer_PID.D = arg_buffer[0];
        else if(strcmp(command_buffer, "outer_y_p") == 0)     Y_Axis_Outer_PID.P = arg_buffer[0];
        else if(strcmp(command_buffer, "outer_y_i") == 0)     Y_Axis_Outer_PID.I = arg_buffer[0];
        else if(strcmp(command_buffer, "outer_y_d") == 0)     Y_Axis_Outer_PID.D = arg_buffer[0];
        else if(strcmp(command_buffer, "outer_z_p") == 0)     Z_Axis_Outer_PID.P = arg_buffer[0];
        else if(strcmp(command_buffer, "outer_z_i") == 0)     Z_Axis_Outer_PID.I = arg_buffer[0];
        else if(strcmp(command_buffer, "outer_z_d") == 0)     Z_Axis_Outer_PID.D = arg_buffer[0];
        else if(strcmp(command_buffer, "x_modifier_p") == 0)  X_Modifier_PID.P = arg_buffer[0];
        else if(strcmp(command_buffer, "x_modifier_i") == 0)  X_Modifier_PID.I = arg_buffer[0];
        else if(strcmp(command_buffer, "x_modifier_d") == 0)  X_Modifier_PID.D = arg_buffer[0];
        else if(strcmp(command_buffer, "y_modifier_p") == 0)  Y_Modifier_PID.P = arg_buffer[0];
        else if(strcmp(command_buffer, "y_modifier_i") == 0)  Y_Modifier_PID.I = arg_buffer[0];
        else if(strcmp(command_buffer, "y_modifier_d") == 0)  Y_Modifier_PID.D = arg_buffer[0];
        else if(strcmp(command_buffer, "x_modifier") == 0)    X_Modifier = arg_buffer[0];
        else if(strcmp(command_buffer, "y_modifier") == 0)    Y_Modifier = arg_buffer[0];
        else if(strcmp(command_buffer, "height_control") == 0)height_control = (uint8_t)arg_buffer[0];
        else if(strcmp(command_buffer, "pos_control") == 0)   position_control = (uint8_t)arg_buffer[0];
        else if(strcmp(command_buffer, "rev_control") == 0)   revolution_control = (uint8_t)arg_buffer[0];
        else if(strcmp(command_buffer, "rev_r") == 0)         revolution_r = arg_buffer[0];
        else if(strcmp(command_buffer, "rev_speed") == 0)     revolution_speed = arg_buffer[0];
      }
    }
  }
}
void EC11_Callback(void)
{
  // LL_GPIO_TogglePin(LED_1_GPIO_Port, LED_1_Pin);
  // temp = EC11_Encoder.value * 100;
  // if(temp > 8400) temp = 8400;
  // if(temp < -8400) temp = -8400;
  // Coil_SetOutput(&Coil_Main, temp);
  if(EC11_Encoder.direction == 0) UI_ButtonEvents(BUTTON_LEFT);
  else UI_ButtonEvents(BUTTON_RIGHT);
}
void Key_Onboard_Callback(void)
{
  if(Key_Onboard.state == PRESSED) LL_GPIO_TogglePin(LED_2_GPIO_Port, LED_2_Pin);
  else if(Key_Onboard.state == LONG_PRESSED)
  {
    LL_GPIO_SetOutputPin(LED_1_GPIO_Port, LED_1_Pin);
    LL_GPIO_SetOutputPin(LED_2_GPIO_Port, LED_2_Pin);
  }
  else
  {
    LL_GPIO_ResetOutputPin(LED_1_GPIO_Port, LED_1_Pin);
    LL_GPIO_ResetOutputPin(LED_2_GPIO_Port, LED_2_Pin);
  }
}
void Key_EC11_Callback(void)
{
  // if(Key_EC11.state == PRESSED) LL_GPIO_TogglePin(LED_1_GPIO_Port, LED_1_Pin);
  // else if(Key_EC11.state == LONG_PRESSED)
  // {
  //   LL_GPIO_SetOutputPin(LED_1_GPIO_Port, LED_1_Pin);
  //   LL_GPIO_SetOutputPin(LED_2_GPIO_Port, LED_2_Pin);
  // }
  // else
  // {
  //   LL_GPIO_ResetOutputPin(LED_1_GPIO_Port, LED_1_Pin);
  //   LL_GPIO_ResetOutputPin(LED_2_GPIO_Port, LED_2_Pin);
  // }
  if(Key_EC11.state == PRESSED) UI_ButtonEvents(BUTTON_PRESS);
  else if(Key_EC11.state == LONG_PRESSED) UI_ButtonEvents(BUTTON_LONG_PRESS);
}
/* USER CODE END 4 */

void Error_Handler(void)
{
  __disable_irq();
  while (1)
  {
  }
}
